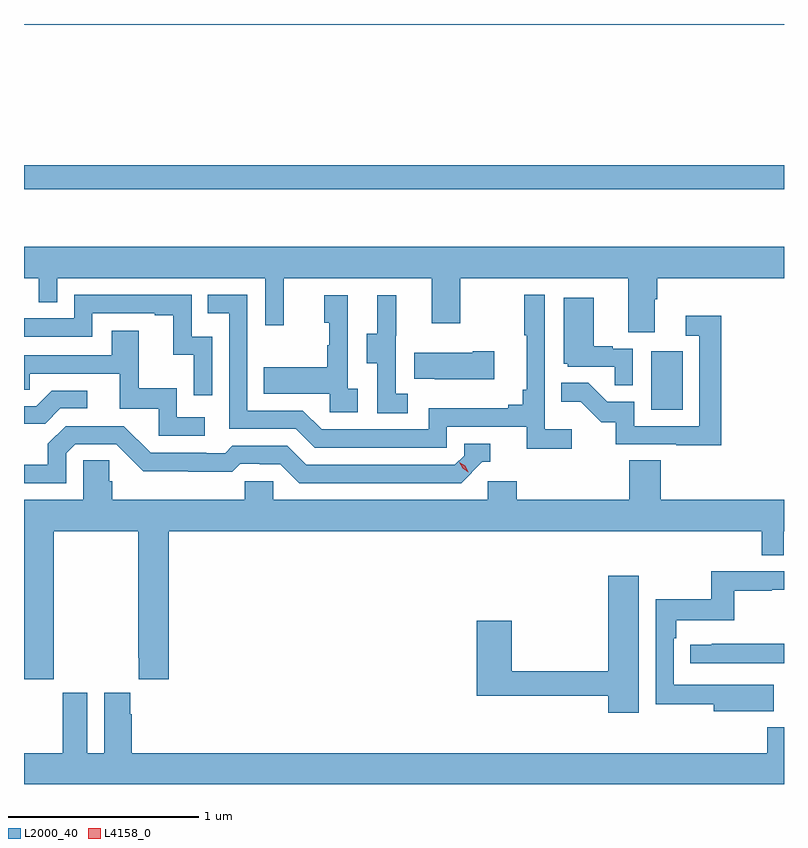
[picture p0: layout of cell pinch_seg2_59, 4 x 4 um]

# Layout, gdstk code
import gdstk
lib = gdstk.Library(unit=1e-6, precision=1e-09)
def R(c, l, rs):  # rectangles x0, y0, x1, y1
    for r in rs: c.add(gdstk.rectangle(r[:2], r[2:], *l))
def P(c, l, *ps):  # polygons
    for p in ps: c.add(gdstk.Polygon(p, *l))
L2000_40 = (2000, 40)
L4158_0 = (4158, 0)

pinch_seg2_59 = lib.new_cell('pinch_seg2_59')
R(pinch_seg2_59, L2000_40, [(1022.06,664.26,1022.224,664.567), (1018.758,665.418,1022.758,665.546), (1018.758,666.284,1022.758,666.289)])
P(pinch_seg2_59, L2000_40, [(1018.758,664.952),(1018.836,664.952),(1018.836,664.825),(1018.932,664.825),(1018.932,664.952),(1020.027,664.952),(1020.027,664.704),(1020.125,664.704),(1020.125,664.952),(1020.905,664.952),(1020.905,664.713),(1021.053,664.713),(1021.053,664.952),(1021.937,664.952),(1021.937,664.666),(1022.077,664.666),(1022.077,664.84),(1022.09,664.84),(1022.09,664.952),(1022.758,664.952),(1022.758,665.116),(1018.758,665.116)],
  [(1021.642,664.156),(1021.5,664.156),(1021.5,664.864),(1021.392,664.864),(1021.392,664.651),(1021.403,664.651),(1021.403,664.363),(1021.384,664.363),(1021.384,664.286),(1021.307,664.286),(1021.307,664.267),(1020.888,664.267),(1020.888,664.155),(1020.324,664.155),(1020.225,664.254),(1019.934,664.254),(1019.934,664.863),(1019.725,664.863),(1019.725,664.767),(1019.838,664.767),(1019.838,664.158),(1020.188,664.158),(1020.287,664.059),(1020.984,664.059),(1020.984,664.17),(1021.403,664.17),(1021.403,664.054),(1021.642,664.054)],
  [(1019.748,664.644),(1019.64,664.644),(1019.64,664.863),(1019.022,664.863),(1019.022,664.74),(1018.758,664.74),(1018.758,664.644),(1019.118,664.644),(1019.118,664.767),(1019.447,664.767),(1019.447,664.755),(1019.543,664.755),(1019.543,664.547),(1019.652,664.547),(1019.652,664.335),(1019.748,664.335)],
  [(1020.778,664.343),(1020.714,664.343),(1020.714,664.647),(1020.716,664.647),(1020.716,664.861),(1020.617,664.861),(1020.617,664.659),(1020.563,664.659),(1020.563,664.504),(1020.618,664.504),(1020.618,664.24),(1020.778,664.24)],
  [(1020.514,664.37),(1020.462,664.37),(1020.462,664.861),(1020.338,664.861),(1020.338,664.716),(1020.364,664.716),(1020.364,664.598),(1020.354,664.598),(1020.354,664.483),(1020.019,664.483),(1020.019,664.343),(1020.366,664.343),(1020.366,664.245),(1020.514,664.245)],
  [(1021.962,664.581),(1021.856,664.581),(1021.856,664.594),(1021.756,664.594),(1021.756,664.849),(1021.598,664.849),(1021.598,664.5),(1021.62,664.5),(1021.62,664.485),(1021.867,664.485),(1021.867,664.387),(1021.962,664.387)],
  [(1022.429,664.753),(1022.241,664.753),(1022.241,664.647),(1022.313,664.647),(1022.313,664.173),(1021.971,664.173),(1021.971,664.302),(1021.827,664.302),(1021.729,664.4),(1021.585,664.4),(1021.585,664.301),(1021.689,664.301),(1021.796,664.194),(1021.873,664.194),(1021.873,664.077),(1022.191,664.077),(1022.191,664.072),(1022.429,664.072)],
  [(1019.71,664.218),(1019.562,664.218),(1019.562,664.372),(1019.363,664.372),(1019.363,664.675),(1019.219,664.675),(1019.219,664.545),(1018.758,664.545),(1018.758,664.365),(1018.787,664.365),(1018.787,664.449),(1019.261,664.449),(1019.261,664.263),(1019.466,664.263),(1019.466,664.122),(1019.71,664.122)],
  [(1021.234,664.566),(1021.121,664.566),(1021.121,664.558),(1020.811,664.558),(1020.811,664.421),(1020.919,664.421),(1020.919,664.418),(1021.234,664.418)],
  [(1018.95,664.266),(1019.092,664.266),(1019.092,664.359),(1018.904,664.359),(1018.823,664.278),(1018.758,664.278),(1018.758,664.186),(1018.87,664.186)],
  [(1018.98,664.029),(1019.028,664.077),(1019.244,664.077),(1019.386,663.935),(1019.622,663.935),(1019.622,663.933),(1019.855,663.933),(1019.897,663.975),(1020,663.975),(1020,663.972),(1020.107,663.972),(1020.206,663.873),(1021.059,663.873),(1021.17,663.984),(1021.213,663.984),(1021.213,664.08),(1021.074,664.08),(1021.074,664.017),(1021.026,663.969),(1020.243,663.969),(1020.144,664.068),(1019.855,664.068),(1019.816,664.029),(1019.717,664.029),(1019.717,664.032),(1019.424,664.032),(1019.283,664.173),(1018.977,664.173),(1018.883,664.079),(1018.883,663.969),(1018.758,663.969),(1018.758,663.873),(1018.98,663.873)],
  [(1018.914,663.62),(1019.359,663.62),(1019.359,662.953),(1019.363,662.953),(1019.363,662.841),(1019.519,662.841),(1019.519,663.62),(1022.641,663.62),(1022.641,663.493),(1022.757,663.493),(1022.757,663.62),(1022.758,663.62),(1022.758,663.784),(1022.108,663.784),(1022.108,663.992),(1021.943,663.992),(1021.943,663.784),(1021.352,663.784),(1021.352,663.882),(1021.2,663.882),(1021.2,663.784),(1020.069,663.784),(1020.069,663.882),(1019.919,663.882),(1019.919,663.784),(1019.222,663.784),(1019.222,663.882),(1019.207,663.882),(1019.207,663.992),(1019.07,663.992),(1019.07,663.784),(1018.758,663.784),(1018.758,663.62),(1018.759,663.62),(1018.759,662.841),(1018.914,662.841)],
  [(1022.705,662.812),(1022.491,662.812),(1022.491,662.811),(1022.178,662.811),(1022.178,663.056),(1022.192,663.056),(1022.192,663.152),(1022.497,663.152),(1022.497,663.307),(1022.693,663.307),(1022.693,663.312),(1022.758,663.312),(1022.758,663.408),(1022.376,663.408),(1022.376,663.262),(1022.082,663.262),(1022.082,662.71),(1022.387,662.71),(1022.387,662.672),(1022.705,662.672)],
  [(1021.993,663.385),(1021.832,663.385),(1021.832,662.882),(1021.325,662.882),(1021.325,663.148),(1021.142,663.148),(1021.142,662.754),(1021.832,662.754),(1021.832,662.664),(1021.993,662.664)],
  [(1022.758,663.026),(1022.377,663.026),(1022.377,663.021),(1022.265,663.021),(1022.265,662.925),(1022.758,662.925)],
  [(1022.758,662.587),(1022.669,662.587),(1022.669,662.452),(1019.324,662.452),(1019.324,662.657),(1019.317,662.657),(1019.317,662.77),(1019.18,662.77),(1019.18,662.452),(1019.092,662.452),(1019.092,662.77),(1018.961,662.77),(1018.961,662.452),(1018.758,662.452),(1018.758,662.289),(1022.758,662.289)])
P(pinch_seg2_59, L4158_0, [(1021.097,663.931),(1021.066,663.95),(1021.049,663.982),(1021.049,663.983),(1021.05,663.983),(1021.081,663.963),(1021.097,663.931),(1021.097,663.931)])

lib.write_gds('pinch_seg2_59.gds')
